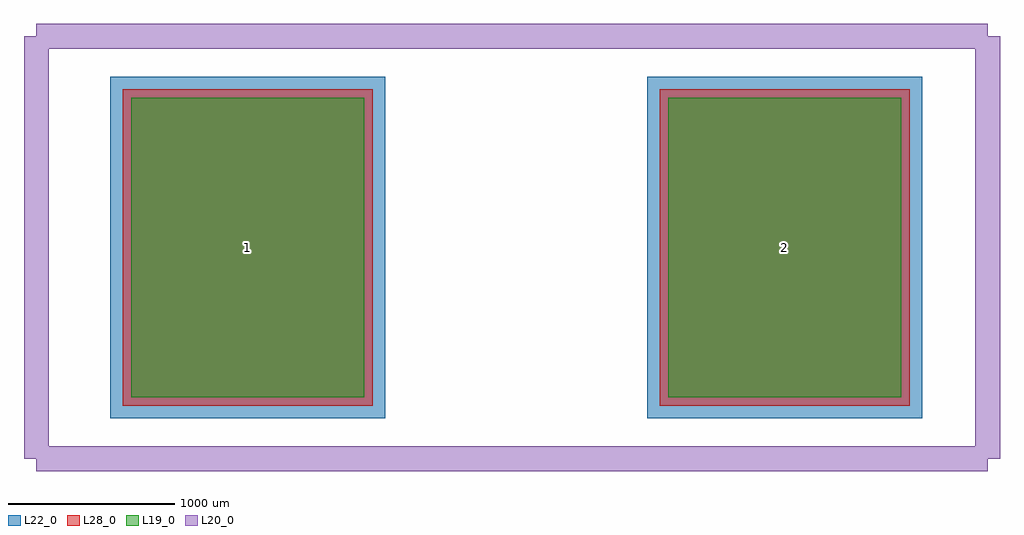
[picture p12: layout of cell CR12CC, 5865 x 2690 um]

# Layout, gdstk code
import gdstk
lib = gdstk.Library(unit=1e-6, precision=1e-09)
def R(c, l, rs):  # rectangles x0, y0, x1, y1
    for r in rs: c.add(gdstk.rectangle(r[:2], r[2:], *l))
L19_0 = (19, 0)
L20_0 = (20, 0)
L22_0 = (22, 0)
L28_0 = (28, 0)

cr12cc = lib.new_cell('CR12CC')
R(cr12cc, L19_0, [(-1970.57,-899.96,-569.43,899.96), (1255.23,-899.96,2656.37,899.96)])
R(cr12cc, L22_0, [(-2095.57,-1024.96,-444.43,1024.96), (1130.23,-1024.96,2781.37,1024.96)])
R(cr12cc, L28_0, [(-2020.57,-949.96,-519.43,949.96), (1205.23,-949.96,2706.37,949.96)])
cr12cc.add(gdstk.FlexPath([(-2540,-1270),(-2540,1270)], 149.998, ends="flush", simple_path=True, layer=20, datatype=0))  # L20_0
cr12cc.add(gdstk.FlexPath([(3175,-1270),(-2540,-1270)], 149.998, ends="flush", simple_path=True, layer=20, datatype=0))  # L20_0
cr12cc.add(gdstk.FlexPath([(3175,1270),(3175,-1270)], 149.998, ends="flush", simple_path=True, layer=20, datatype=0))  # L20_0
cr12cc.add(gdstk.FlexPath([(-2540,1270),(3175,1270)], 149.998, ends="flush", simple_path=True, layer=20, datatype=0))  # L20_0
cr12cc.add(gdstk.Label('2', (1955.8,0), layer=28, texttype=0))
cr12cc.add(gdstk.Label('1', (-1270,0), layer=28, texttype=0))
cr12cc.add(gdstk.Label('type', (127,-2286), layer=9, texttype=0))
cr12cc.add(gdstk.Label('devicename', (381,2286), layer=9, texttype=0))

lib.write_gds('CR12CC.gds')
